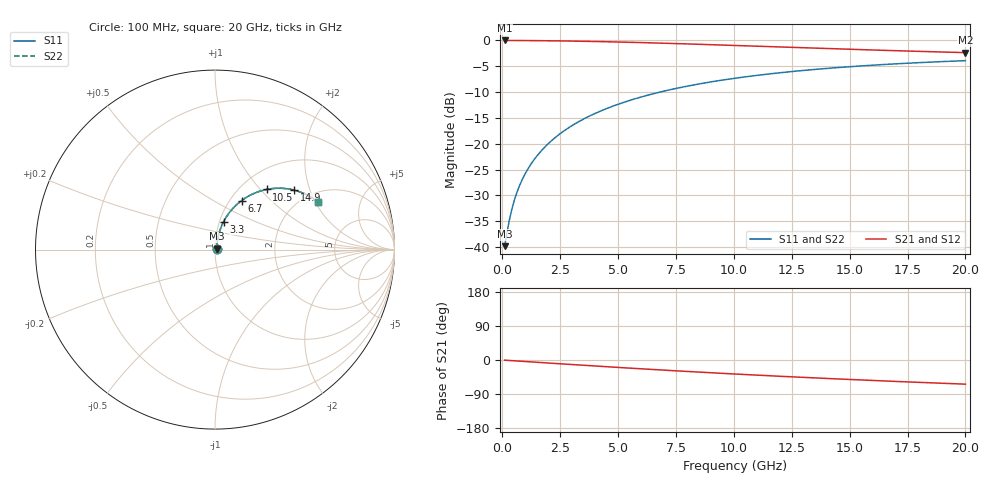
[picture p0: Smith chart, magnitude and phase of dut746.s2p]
! Touchstone file exported from HFSS 2026.1.0
!  File:  C:/ffzhzh/LocalFiles/Ansys_Project_Files/temp_train_BSMRDL_746_1783168798_51560.aedt
!  Generated:  08:41:23 PM Jul  4, 2026
!  Design:  BSMRDL
!  Project:  temp_train_BSMRDL_746_1783168798_51560
! Variables:
!  h_bsmrdl = 3.65um
!  h_ox = 20um
!  h_rdl = 5um
!  h_sub = 80um
!  h_tmrdl = 5um
!  h_tsv = 80um
!  h_via = 3um
!  l_bsmrdl = 962.84um
!  l_sub = 1362.84um
!  l_tmrdl = 200um
!  m_sub = 200um
!  pitch = 43.84um
!  r_tsv = 6um
!  s_tmrdl = 10um
!  w_bsmrdl = 10.47um
!  w_sub = 500um
!  w_tmrdl = 12um
!  x_tsv_center1 = 206um
!  x_tsv_center2 = 1179.31um
!  x_tsv_center3 = 1391.31um
!  x_tsv_center4 = 2364.62um
!  x_tsv_center5 = 2576.62um
!  x_tsv_center6 = 3549.93um
# GHz S MA R 50.000000
! Terminal data exported
! Port[1] = BSM_RDL1_1_T1
! Port[2] = BSM_RDL1_1_T2
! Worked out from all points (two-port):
!   200 points, 100 MHz to 20 GHz, reference 50 ohm
!   highest |S21| = -0.08 dB at 100 MHz (marker M1); lowest = -2.4 dB at 20 GHz (marker M2)
!   |S21| within 3 dB of the highest: start of sweep to end of sweep
!   lowest |S11| = -39.8 dB at 100 MHz (marker M3), VSWR 1.02, Z = 50.9 + j0.526 ohm
!   |S11| at or under -10 dB: start of sweep to 6.851 GHz
!   |S22| runs from -39.8 to -4.0 dB; largest |S21 - S12| = 2.6e-15
!   S11 on the Smith chart (normalised r, x): 100 MHz: 1.02, +0.01; 3.3 GHz: 1.05, +0.33; 6.7 GHz: 1.13, +0.68; 10.5 GHz: 1.30, +1.08; 14.9 GHz: 1.64, +1.57; 20 GHz: 2.40, +2.11
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0.1  0.01023 30.3  0.9912 -0.4  0.9912 -0.4  0.01023 30.3
! Gamma 0 0 0 0
! Port Impedance 50 0 50 0
0.3  0.018 58.8  0.9909 -1.2  0.9909 -1.2  0.018 58.8
0.4  0.02264 64.6  0.9907 -1.6  0.9907 -1.6  0.02264 64.6
0.5  0.0274 68.2  0.9904 -2.0  0.9904 -2.0  0.0274 68.2
0.6  0.03223 70.6  0.9901 -2.5  0.9901 -2.5  0.03223 70.6
0.8  0.04197 73.5  0.9895 -3.3  0.9895 -3.3  0.04197 73.5
1.1  0.05664 75.5  0.9885 -4.5  0.9885 -4.5  0.05664 75.5
1.5  0.07624 76.3  0.9869 -6.0  0.9869 -6.0  0.07624 76.3
2  0.1006 76.0  0.9844 -8.0  0.9844 -8.0  0.1006 76.0
2.6  0.1297 74.8  0.9807 -10.4  0.9807 -10.4  0.1297 74.8
3.3  0.1629 72.8  0.9752 -13.1  0.9752 -13.1  0.1629 72.8
3.5  0.1722 72.2  0.9735 -13.9  0.9735 -13.9  0.1722 72.2
4.9  0.2355 67.7  0.9591 -19.2  0.9591 -19.2  0.2355 67.7
6.7  0.3103 61.6  0.9362 -25.8  0.9362 -25.8  0.3103 61.6
6.8  0.3143 61.2  0.9348 -26.1  0.9348 -26.1  0.3143 61.2
8.3  0.3701 56.3  0.9133 -31.3  0.9133 -31.3  0.3701 56.3
10.1  0.4295 50.6  0.8862 -37.2  0.8862 -37.2  0.4295 50.6
10.5  0.4416 49.4  0.8801 -38.4  0.8801 -38.4  0.4416 49.4
13.4  0.5184 41.0  0.837 -47.0  0.837 -47.0  0.5184 41.0
14.9  0.551 37.0  0.8161 -51.1  0.8161 -51.1  0.551 37.0
16.7  0.5846 32.4  0.7928 -55.8  0.7928 -55.8  0.5846 32.4
20  0.6324 24.7  0.7564 -63.8  0.7564 -63.8  0.6324 24.7
